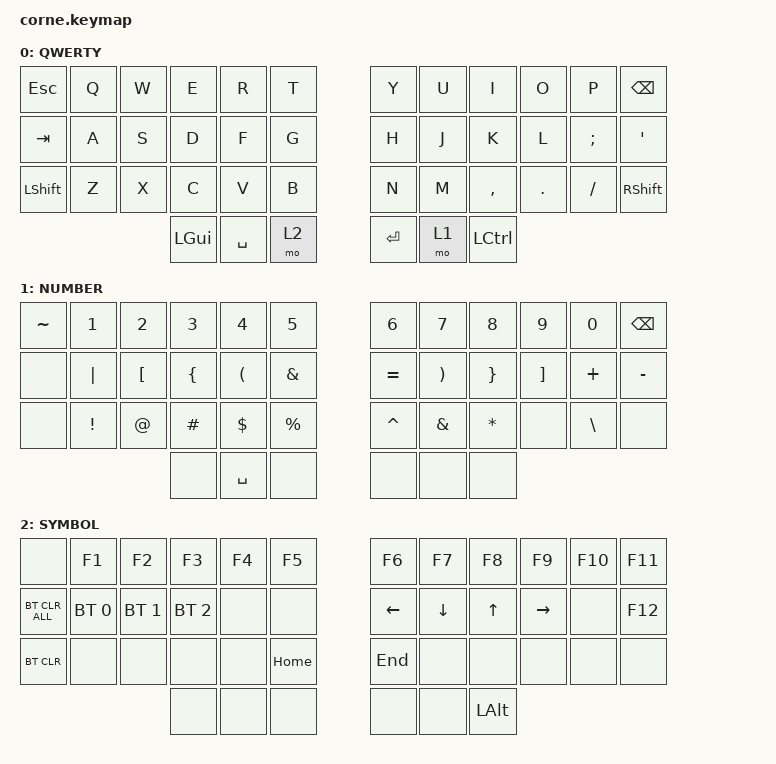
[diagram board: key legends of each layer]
/*
 * Copyright (c) 2020 The ZMK Contributors
 *
 * SPDX-License-Identifier: MIT
 */

#include <behaviors.dtsi>
#include <dt-bindings/zmk/bt.h>
#include <dt-bindings/zmk/keys.h>

/ {
    chosen {
        zmk,matrix_transform = &default_transform;

        // zmk,matrix_transform = &five_column_transform;
    };
};

/ {
    behaviors {
        td0: td0 {
            compatible = "zmk,behavior-tap-dance";
            label = "TD0";
            #binding-cells = <0>;
            bindings = <&kp LEFT_SHIFT>, <&kp CAPS>;
        };
    };

    combos {
        compatible = "zmk,combos";

        lgui {
            bindings = <&kp LCMD>;
            key-positions = <16 15>;
            timeout-ms = <30>;
            layers = <0>;
        };

        lctrl {
            bindings = <&kp LCTRL>;
            key-positions = <15 14>;
            timeout-ms = <30>;
            layers = <0>;
        };

        rctrl {
            bindings = <&kp LEFT_ALT>;
            key-positions = <20 21>;
            timeout-ms = <30>;
            layers = <0>;
        };

        caps {
            bindings = <&kp CAPSLOCK>;
            key-positions = <24 35>;
            timeout-ms = <30>;
            layers = <0>;
        };

        rgui {
            bindings = <&kp LCMD>;
            key-positions = <19 20>;
            timeout-ms = <30>;
            layers = <0>;
        };
    };

    keymap {
        compatible = "zmk,keymap";

        default_layer {
            display-name = "QWERTY";

            // --------------------------------------------------------------------------------
            // |  TAB |  Q  |  W  |  E  |  R  |  T  |   |  Y  |  U   |  I  |  O  |  P  | BKSP |
            // | CTRL |  A  |  S  |  D  |  F  |  G  |   |  H  |  J   |  K  |  L  |  ;  |  '   | 
            // | SHFT |  Z  |  X  |  C  |  V  |  B  |   |  N  |  M   |  ,  |  .  |  /  | ESC  |
            //                    | GUI | LWR | SPC |   | ENT | RSE  | ALT |

            bindings = <
&kp ESCAPE  &kp Q  &kp W  &kp E         &kp R      &kp T    &kp Y      &kp U  &kp I      &kp O    &kp P     &kp BACKSPACE
&kp TAB     &kp A  &kp S  &kp D         &kp F      &kp G    &kp H      &kp J  &kp K      &kp L    &kp SEMI  &kp SQT
&kp LSHIFT  &kp Z  &kp X  &kp C         &kp V      &kp B    &kp N      &kp M  &kp COMMA  &kp DOT  &kp FSLH  &kp RIGHT_SHIFT
                          &kp LEFT_GUI  &kp SPACE  &mo 2    &kp ENTER  &mo 1  &kp LCTRL
            >;
        };

        symbolsLayer {
            display-name = "NUMBER";

            // -----------------------------------------------------------------------------------------
            // |  TAB |  1  |  2  |  3  |  4  |  5  |   |  6  |  7  |  8  |  9  |  0  | BKSP |
            // | BTCLR| BT1 | BT2 | BT3 | BT4 | BT5 |   | LFT | DWN |  UP | RGT |     |      |
            // | SHFT |     |     |     |     |     |   |     |     |     |     |     |      |
            //                    | GUI |     | SPC |   | ENT |     | ALT |

            bindings = <
&kp TILDE  &kp N1           &kp N2            &kp N3          &kp N4                &kp N5           &kp N6     &kp N7                 &kp N8           &kp N9             &kp N0         &kp BSPC
&none      &kp PIPE         &kp LEFT_BRACKET  &kp LEFT_BRACE  &kp LEFT_PARENTHESIS  &kp AMPERSAND    &kp EQUAL  &kp RIGHT_PARENTHESIS  &kp RIGHT_BRACE  &kp RIGHT_BRACKET  &kp PLUS       &kp MINUS
&none      &kp EXCLAMATION  &kp AT_SIGN       &kp HASH        &kp DOLLAR            &kp PERCENT      &kp CARET  &kp AMPERSAND          &kp STAR         &none              &kp BACKSLASH  &none
                                              &none           &kp SPACE             &none            &none      &none                  &none
            >;
        };

        Fn+Bt+Nav {
            display-name = "SYMBOL";

            // -----------------------------------------------------------------------------------------
            // |  TAB |  !  |  @  |  #  |  $  |  %  |   |  ^  |  &  |  *  |  (  |  )  | BKSP |
            // | CTRL |     |     |     |     |     |   |  -  |  =  |  [  |  ]  |  \  |  `   |
            // | SHFT |     |     |     |     |     |   |  _  |  +  |  {  |  }  | "|" |  ~   |
            //                    | GUI |     | SPC |   | ENT |     | ALT |

            bindings = <
&none           &kp F1        &kp F2        &kp F3        &kp F4  &kp F5      &kp F6          &kp F7          &kp F8        &kp F9           &kp F10  &kp F11
&bt BT_CLR_ALL  &bt BT_SEL 0  &bt BT_SEL 1  &bt BT_SEL 2  &none   &none       &kp LEFT_ARROW  &kp DOWN_ARROW  &kp UP_ARROW  &kp RIGHT_ARROW  &none    &kp F12
&bt BT_CLR      &none         &none         &none         &none   &kp HOME    &kp END         &none           &none         &none            &none    &none
                                            &none         &none   &none       &none           &none           &kp LEFT_ALT
            >;
        };
    };
};
